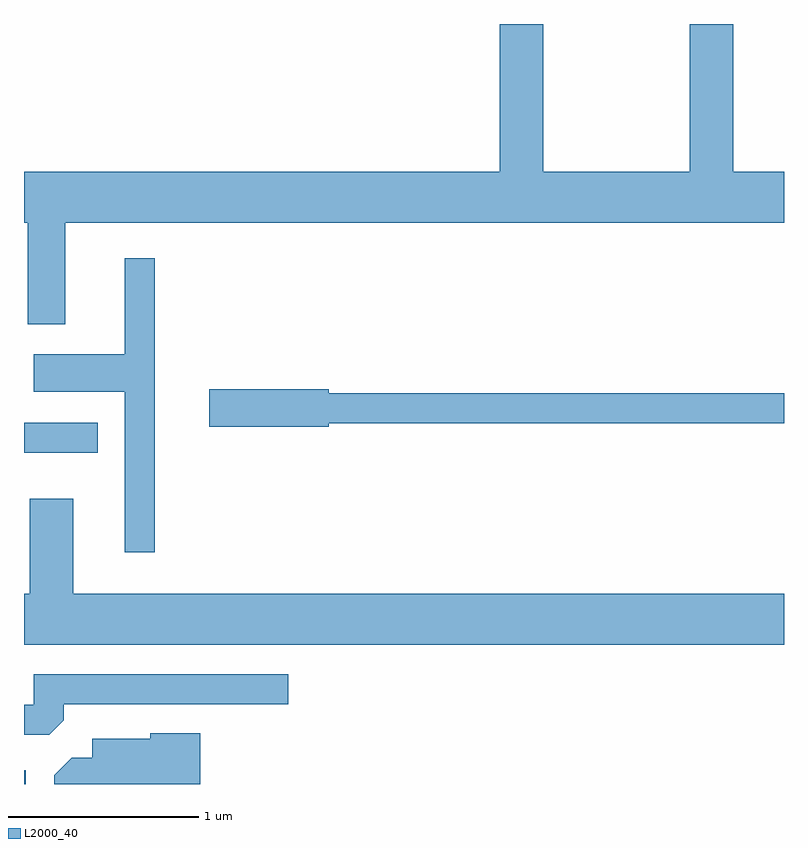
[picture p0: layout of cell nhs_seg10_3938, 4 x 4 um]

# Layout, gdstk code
import gdstk
lib = gdstk.Library(unit=1e-6, precision=1e-09)
def R(c, l, rs):  # rectangles x0, y0, x1, y1
    for r in rs: c.add(gdstk.rectangle(r[:2], r[2:], *l))
def P(c, l, *ps):  # polygons
    for p in ps: c.add(gdstk.Polygon(p, *l))
L2000_40 = (2000, 40)

nhs_seg10_3938 = lib.new_cell('nhs_seg10_3938')
R(nhs_seg10_3938, L2000_40, [(301.611,2106.522,301.619,2106.594), (301.611,2108.266,301.998,2108.424)])
P(nhs_seg10_3938, L2000_40, [(301.829,2109.476),(305.611,2109.476),(305.611,2109.744),(305.344,2109.744),(305.344,2110.522),(305.116,2110.522),(305.116,2109.744),(304.344,2109.744),(304.344,2110.522),(304.116,2110.522),(304.116,2109.744),(301.611,2109.744),(301.611,2109.476),(301.631,2109.476),(301.631,2108.941),(301.829,2108.941)],
  [(302.299,2109.288),(302.141,2109.288),(302.141,2108.784),(301.661,2108.784),(301.661,2108.586),(302.141,2108.586),(302.141,2107.743),(302.299,2107.743)],
  [(303.214,2108.421),(305.611,2108.421),(305.611,2108.579),(303.214,2108.579),(303.214,2108.599),(302.586,2108.599),(302.586,2108.401),(303.214,2108.401)],
  [(305.611,2107.524),(301.869,2107.524),(301.869,2108.024),(301.641,2108.024),(301.641,2107.524),(301.611,2107.524),(301.611,2107.256),(305.611,2107.256)],
  [(301.819,2106.857),(301.819,2106.941),(303.003,2106.941),(303.003,2107.099),(301.661,2107.099),(301.661,2106.939),(301.611,2106.939),(301.611,2106.781),(301.744,2106.781)],
  [(302.539,2106.789),(302.276,2106.789),(302.276,2106.759),(301.971,2106.759),(301.971,2106.659),(301.862,2106.659),(301.771,2106.569),(301.771,2106.522),(302.539,2106.522)])

lib.write_gds('nhs_seg10_3938.gds')
